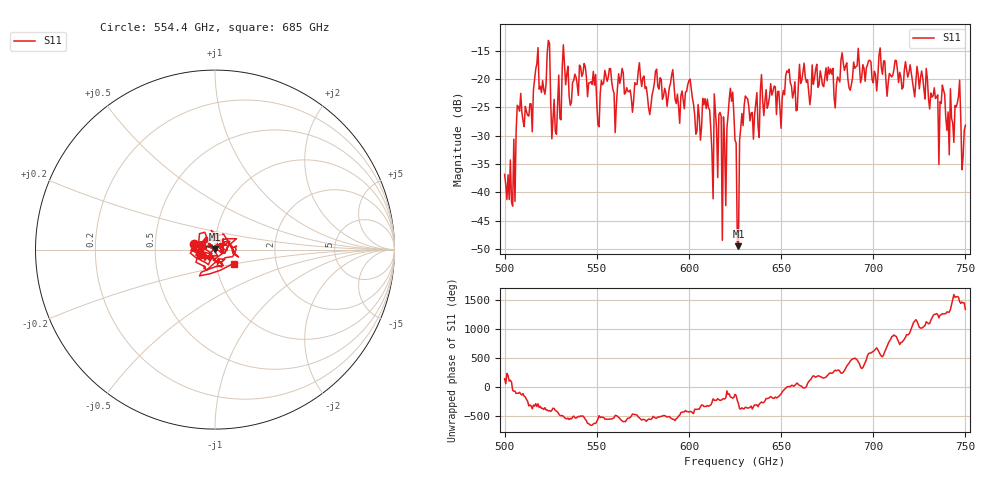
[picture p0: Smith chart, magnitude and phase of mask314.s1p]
!Created with skrf (http://scikit-rf.org).
# GHz S MA R 50.0
!freq magS11 angS11
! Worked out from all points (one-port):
!   401 points, 500 GHz to 750 GHz, reference 50 ohm
!   lowest |S11| = -49.5 dB at 626.9 GHz (marker M1), VSWR 1.01, Z = 50.1 + j0.315 ohm
!   |S11| at or under -10 dB: start of sweep to end of sweep
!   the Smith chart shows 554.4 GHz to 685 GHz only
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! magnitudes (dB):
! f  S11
! 500 GHz  -36.8
! 504.4 GHz  -42.4
! 507.5 GHz  -25.0
! 513.8 GHz  -24.4
! 516.9 GHz  -18.3
! 523.8 GHz  -13.2
! 526.9 GHz  -23.6
! 531.2 GHz  -18.1
! 542.5 GHz  -19.0
! 551.2 GHz  -28.4
! 562.5 GHz  -20.8
! 578.8 GHz  -26.3
! 590.6 GHz  -19.3
! 593.8 GHz  -22.7
! 610 GHz  -23.6
! 611.9 GHz  -28.9
! 619.4 GHz  -31.2
! 623.1 GHz  -23.9
! 625 GHz  -30.8
! 626.9 GHz  -49.5
! 628.8 GHz  -26.1
! 631.2 GHz  -23.3
! 656.2 GHz  -23.4
! 687.5 GHz  -22.0
! 718.8 GHz  -19.7
! 742.5 GHz  -27.0
! 745.6 GHz  -24.2
! 750 GHz  -28.2
